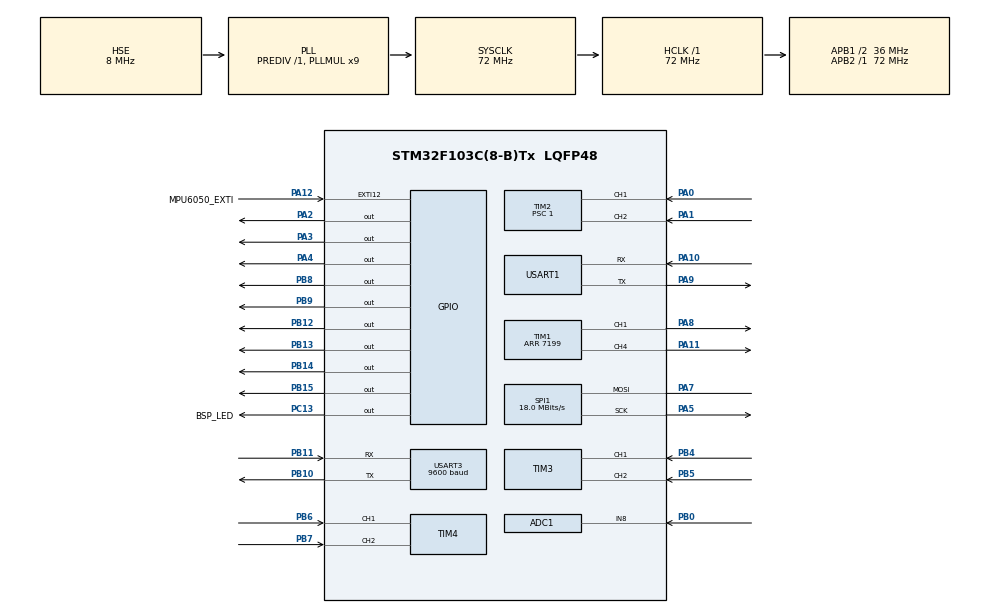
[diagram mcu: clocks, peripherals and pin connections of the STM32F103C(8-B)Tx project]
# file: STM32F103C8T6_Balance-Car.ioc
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ADC1.Channel-0\#ChannelRegularConversion=ADC_CHANNEL_8
ADC1.NbrOfConversionFlag=1
ADC1.Rank-0\#ChannelRegularConversion=1
ADC1.SamplingTime-0\#ChannelRegularConversion=ADC_SAMPLETIME_1CYCLE_5
ADC1.master=1
Mcu.Family=STM32F1
Mcu.Name=STM32F103C(8-B)Tx
Mcu.Package=LQFP48
NVIC.EXTI15_10_IRQn=true\:2\:0\:true\:false\:true\:true\:true\:true
NVIC.PriorityGroup=NVIC_PRIORITYGROUP_2
NVIC.TIM3_IRQn=true\:1\:0\:true\:false\:true\:true\:true\:true
NVIC.TIM4_IRQn=true\:1\:0\:true\:false\:true\:true\:true\:true
NVIC.USART1_IRQn=true\:1\:0\:true\:false\:true\:true\:true\:true
NVIC.USART3_IRQn=true\:1\:0\:true\:false\:true\:true\:true\:true
PA0-WKUP.Signal=S_TIM2_CH1_ETR
PA1.Signal=S_TIM2_CH2
PA10.Mode=Asynchronous
PA10.Signal=USART1_RX
PA11.Signal=S_TIM1_CH4
PA12.GPIO_Label=MPU6050_EXTI
PA12.GPIO_ModeDefaultEXTI=GPIO_MODE_IT_FALLING
PA12.Signal=GPXTI12
PA13.Mode=Serial_Wire
PA13.Signal=SYS_JTMS-SWDIO
PA14.Mode=Serial_Wire
PA14.Signal=SYS_JTCK-SWCLK
PA2.Signal=GPIO_Output
PA3.Signal=GPIO_Output
PA4.Signal=GPIO_Output
PA5.Mode=Simplex_Bidirectional_Master
PA5.Signal=SPI1_SCK
PA7.Mode=Simplex_Bidirectional_Master
PA7.Signal=SPI1_MOSI
PA8.Signal=S_TIM1_CH1
PA9.Mode=Asynchronous
PA9.Signal=USART1_TX
PB0.Signal=ADCx_IN8
PB10.Mode=Asynchronous
PB10.Signal=USART3_TX
PB11.Mode=Asynchronous
PB11.Signal=USART3_RX
PB12.Signal=GPIO_Output
PB13.Signal=GPIO_Output
PB14.Signal=GPIO_Output
PB15.Signal=GPIO_Output
PB4.Signal=S_TIM3_CH1
PB5.Signal=S_TIM3_CH2
PB6.Signal=S_TIM4_CH1
PB7.Signal=S_TIM4_CH2
PB8.Signal=GPIO_Output
PB9.Signal=GPIO_Output
PC13-TAMPER-RTC.GPIO_Label=BSP_LED
PC13-TAMPER-RTC.Signal=GPIO_Output
PD0-OSC_IN.Mode=HSE-External-Oscillator
PD0-OSC_IN.Signal=RCC_OSC_IN
PD1-OSC_OUT.Mode=HSE-External-Oscillator
PD1-OSC_OUT.Signal=RCC_OSC_OUT
ProjectManager.HeapSize=0x200
ProjectManager.StackSize=0x400
ProjectManager.TargetToolchain=MDK-ARM V5.32
RCC.ADCPresc=RCC_ADCPCLK2_DIV6
RCC.AHBFreq_Value=72000000
RCC.APB1CLKDivider=RCC_HCLK_DIV2
RCC.APB1Freq_Value=36000000
RCC.APB1TimFreq_Value=72000000
RCC.APB2Freq_Value=72000000
RCC.APB2TimFreq_Value=72000000
RCC.HCLKFreq_Value=72000000
RCC.PLLMUL=RCC_PLL_MUL9
RCC.PLLSourceVirtual=RCC_PLLSOURCE_HSE
RCC.SYSCLKFreq_VALUE=72000000
RCC.SYSCLKSource=RCC_SYSCLKSOURCE_PLLCLK
RCC.USBFreq_Value=72000000
SH.ADCx_IN8.0=ADC1_IN8,IN8
SH.S_TIM1_CH1.0=TIM1_CH1,PWM Generation1 CH1
SH.S_TIM1_CH4.0=TIM1_CH4,PWM Generation4 CH4
SH.S_TIM2_CH1_ETR.0=TIM2_CH1,Encoder_Interface
SH.S_TIM2_CH2.0=TIM2_CH2,Encoder_Interface
SH.S_TIM3_CH1.0=TIM3_CH1,Encoder_Interface
SH.S_TIM3_CH2.0=TIM3_CH2,Encoder_Interface
SH.S_TIM4_CH1.0=TIM4_CH1,Encoder_Interface
SH.S_TIM4_CH2.0=TIM4_CH2,Encoder_Interface
SPI1.BaudRatePrescaler=SPI_BAUDRATEPRESCALER_4
SPI1.CLKPhase=SPI_PHASE_2EDGE
SPI1.CLKPolarity=SPI_POLARITY_HIGH
SPI1.CalculateBaudRate=18.0 MBits/s
SPI1.Direction=SPI_DIRECTION_1LINE
SPI1.Mode=SPI_MODE_MASTER
SPI1.VirtualType=VM_MASTER
TIM1.AutoReloadPreload=TIM_AUTORELOAD_PRELOAD_ENABLE
TIM1.Channel-PWM\ Generation1\ CH1=TIM_CHANNEL_1
TIM1.Channel-PWM\ Generation4\ CH4=TIM_CHANNEL_4
TIM1.Period=7199
TIM2.Period=10
TIM2.Prescaler=1
TIM3.EncoderMode=TIM_ENCODERMODE_TI12
TIM4.EncoderMode=TIM_ENCODERMODE_TI12
USART1.VirtualMode=VM_ASYNC
USART3.BaudRate=9600
USART3.VirtualMode=VM_ASYNC
VP_TIM1_VS_ClockSourceINT.Mode=Internal
board=custom

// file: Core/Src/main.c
/* USER CODE BEGIN Header */
/**
 ******************************************************************************
 * @file           : main.c
 * @brief          : Main program body
 ******************************************************************************
 * @attention
 *
 * Copyright (c) 2025 STMicroelectronics.
 * All rights reserved.
 *
 * This software is licensed under terms that can be found in the LICENSE file
 * in the root directory of this software component.
 * If no LICENSE file comes with this software, it is provided AS-IS.
 *
 ******************************************************************************
 */
/* USER CODE END Header */
#include "main.h"
#include "adc.h"
#include "spi.h"
#include "tim.h"
#include "usart.h"
#include "gpio.h"

/* USER CODE BEGIN Includes */
#include "sys.h"
/* USER CODE END Includes */

/* USER CODE BEGIN PTD */
u8 Way_Angle = 2;                                                                                                // 获取角度的算法，1：四元数  2：卡尔曼  3：互补滤波
u8 Flag_front, Flag_back, Flag_Left, Flag_Right, Flag_velocity = 2;                                              // 蓝牙遥控相关的变量
u8 Flag_Stop = 0, Flag_Show = 0;                                                                                 // 电机停止标志位和显示标志位  默认停止 显示打开
int Motor_Left, Motor_Right;                                                                                     // 电机PWM变量 应是Motor的 向Moto致敬
float Velocity_Left, Velocity_Right;                                                                             // 车轮速度(mm/s)
float Temperature;                                                                                               // 温度变量
float Voltage, Middle_angle = 0.7;                                                                               // 电池电压采样相关的变量
float Angle_Balance, Gyro_Balance, Gyro_Turn;                                                                    // 平衡倾角 平衡陀螺仪 转向陀螺仪
u8 LD_Successful_Receive_flag;                                                                                   // 雷达成功接收数据标志位
u8 Mode = 0;                                                                                                     // 模式选择，默认是普通的控制模式
u8 CCD_Zhongzhi, CCD_Yuzhi;                                                                                      // CCD中值和阈值
u16 ADV[128] = {0};                                                                                              // 存放CCD的数据的数组
u16 determine;                                                                                                   // 雷达跟随模式的一个标志位
float Move_X, Move_Z;                                                                                            // 遥控控制的速度
u32 Distance = 0;                                                                                                // 超声波测距
u8 PID_Send;                                                                                                     // 调参相关变量
u8 Flag_follow = 0, Flag_avoid = 0;                                                                              // 超声波跟随、超声波壁障标志位
float Acceleration_Z;                                                                                            // Z轴加速度计
volatile u8 delay_flag, delay_500;                                                                               // 提供延时的变量
float Balance_Kp = 37500, Balance_Kd = 182, Velocity_Kp = 520, Velocity_Ki = 2.60, Turn_Kp = 4200, Turn_Kd = 60; // PID参数（放大100倍）
/* USER CODE END PTD */

void SystemClock_Config(void);

int main(void)
{

  /* MCU Configuration--------------------------------------------------------*/

  /* Reset of all peripherals, Initializes the Flash interface and the Systick. */
  HAL_Init();

  /* Configure the system clock */
  SystemClock_Config();

  /* Initialize all configured peripherals */
  MX_GPIO_Init();
  MX_SPI1_Init();
  MX_USART1_UART_Init();
  MX_TIM1_Init();
  MX_TIM3_Init();
  MX_TIM4_Init();
  MX_USART3_UART_Init();
  MX_ADC1_Init();
  MX_TIM2_Init();
  /* USER CODE BEGIN 2 */
  OLED_HAL_Init(); // 初始化OLED
  OLED_HAL_Clear();
  delay_init();
  MPU6050_initialize(); // MPU6050初始化
  DMP_Init();           // 初始化DMP

  HAL_TIM_PWM_Start(&htim1, TIM_CHANNEL_1);
  HAL_TIM_PWM_Start(&htim1, TIM_CHANNEL_4);

  HAL_TIM_Encoder_Start(&htim2, TIM_CHANNEL_1);
  HAL_TIM_Encoder_Start(&htim2, TIM_CHANNEL_2);

  HAL_TIM_Encoder_Start(&htim3, TIM_CHANNEL_ALL);
  HAL_TIM_Encoder_Start(&htim4, TIM_CHANNEL_ALL);
  /* USER CODE END 2 */

  /* Infinite loop */
  while (1)
  {

    /* USER CODE BEGIN 3 */
    OLED_Show();
    // printf("OLED_HAL_ShowString\r\n");
    // char voltage_str[20];
    // Voltage = GetADC_Power() * 330 * 10.97 / 4096;
    // sprintf(voltage_str, "%d\r\n", Voltage);
    // HAL_UART_Transmit(&huart3, (uint8_t *)voltage_str, strlen(voltage_str), 1000);
    // printf("count %d\r\n", __HAL_TIM_GetCounter(&htim2));
    // LED_Toggle();
    // delay_ms(500);
  }
  /* USER CODE END 3 */
}

void SystemClock_Config(void)
{
  RCC_OscInitTypeDef RCC_OscInitStruct = {0};
  RCC_ClkInitTypeDef RCC_ClkInitStruct = {0};
  RCC_PeriphCLKInitTypeDef PeriphClkInit = {0};

  /** Initializes the RCC Oscillators according to the specified parameters
   * in the RCC_OscInitTypeDef structure.
   */
  RCC_OscInitStruct.OscillatorType = RCC_OSCILLATORTYPE_HSE;
  RCC_OscInitStruct.HSEState = RCC_HSE_ON;
  RCC_OscInitStruct.HSEPredivValue = RCC_HSE_PREDIV_DIV1;
  RCC_OscInitStruct.HSIState = RCC_HSI_ON;
  RCC_OscInitStruct.PLL.PLLState = RCC_PLL_ON;
  RCC_OscInitStruct.PLL.PLLSource = RCC_PLLSOURCE_HSE;
  RCC_OscInitStruct.PLL.PLLMUL = RCC_PLL_MUL9;
  if (HAL_RCC_OscConfig(&RCC_OscInitStruct) != HAL_OK)
  {
    Error_Handler();
  }

  /** Initializes the CPU, AHB and APB buses clocks
   */
  RCC_ClkInitStruct.ClockType = RCC_CLOCKTYPE_HCLK | RCC_CLOCKTYPE_SYSCLK | RCC_CLOCKTYPE_PCLK1 | RCC_CLOCKTYPE_PCLK2;
  RCC_ClkInitStruct.SYSCLKSource = RCC_SYSCLKSOURCE_PLLCLK;
  RCC_ClkInitStruct.AHBCLKDivider = RCC_SYSCLK_DIV1;
  RCC_ClkInitStruct.APB1CLKDivider = RCC_HCLK_DIV2;
  RCC_ClkInitStruct.APB2CLKDivider = RCC_HCLK_DIV1;

  if (HAL_RCC_ClockConfig(&RCC_ClkInitStruct, FLASH_LATENCY_2) != HAL_OK)
  {
    Error_Handler();
  }
  PeriphClkInit.PeriphClockSelection = RCC_PERIPHCLK_ADC;
  PeriphClkInit.AdcClockSelection = RCC_ADCPCLK2_DIV6;
  if (HAL_RCCEx_PeriphCLKConfig(&PeriphClkInit) != HAL_OK)
  {
    Error_Handler();
  }
}

void Error_Handler(void)
{
  __disable_irq();
  while (1)
  {
  }
}
